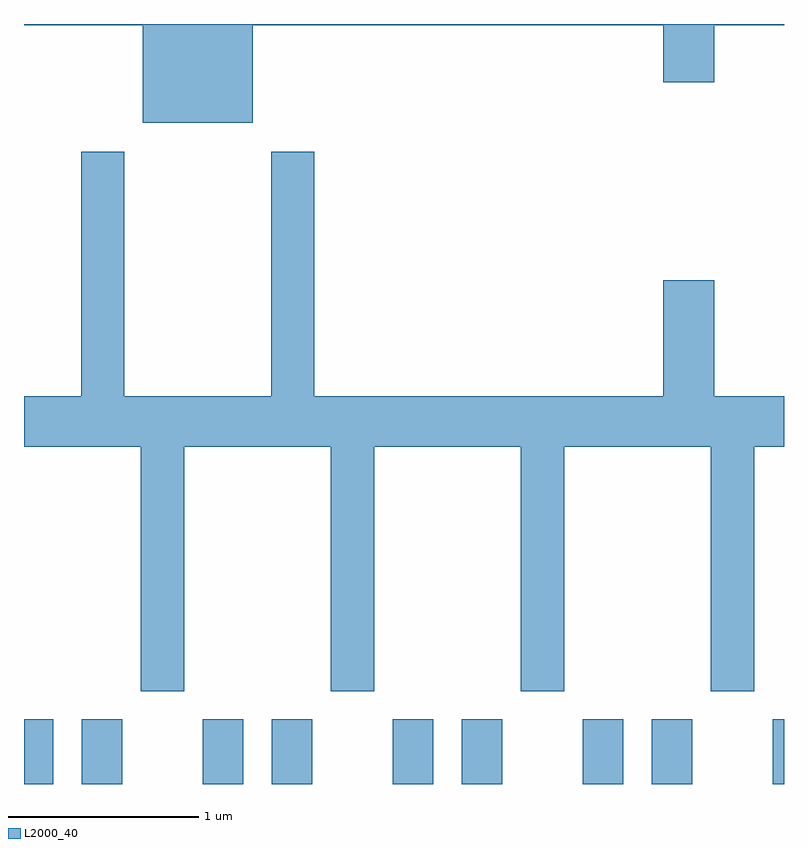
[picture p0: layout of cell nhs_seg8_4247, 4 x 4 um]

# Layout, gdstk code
import gdstk
lib = gdstk.Library(unit=1e-6, precision=1e-09)
def R(c, l, rs):  # rectangles x0, y0, x1, y1
    for r in rs: c.add(gdstk.rectangle(r[:2], r[2:], *l))
def P(c, l, *ps):  # polygons
    for p in ps: c.add(gdstk.Polygon(p, *l))
L2000_40 = (2000, 40)

nhs_seg8_4247 = lib.new_cell('nhs_seg8_4247')
R(nhs_seg8_4247, L2000_40, [(311.611,1912.342,311.764,1912.684), (311.916,1912.342,312.129,1912.684), (312.551,1912.342,312.764,1912.684), (312.916,1912.342,313.129,1912.684), (313.551,1912.342,313.764,1912.684), (313.916,1912.342,314.129,1912.684), (314.551,1912.342,314.764,1912.684), (314.916,1912.342,315.129,1912.684), (315.551,1912.342,315.611,1912.684)])
P(nhs_seg8_4247, L2000_40, [(311.611,1916.336),(312.236,1916.336),(312.236,1915.821),(312.814,1915.821),(312.814,1916.336),(314.976,1916.336),(314.976,1916.036),(315.244,1916.036),(315.244,1916.336),(315.611,1916.336),(315.611,1916.342),(311.611,1916.342)],
  [(313.139,1915.669),(312.911,1915.669),(312.911,1914.384),(312.139,1914.384),(312.139,1915.669),(311.911,1915.669),(311.911,1914.384),(311.611,1914.384),(311.611,1914.116),(312.226,1914.116),(312.226,1912.831),(312.454,1912.831),(312.454,1914.116),(313.226,1914.116),(313.226,1912.831),(313.454,1912.831),(313.454,1914.116),(314.226,1914.116),(314.226,1912.831),(314.454,1912.831),(314.454,1914.116),(315.226,1914.116),(315.226,1912.831),(315.454,1912.831),(315.454,1914.116),(315.611,1914.116),(315.611,1914.384),(315.244,1914.384),(315.244,1914.994),(314.976,1914.994),(314.976,1914.384),(313.139,1914.384)])

lib.write_gds('nhs_seg8_4247.gds')
